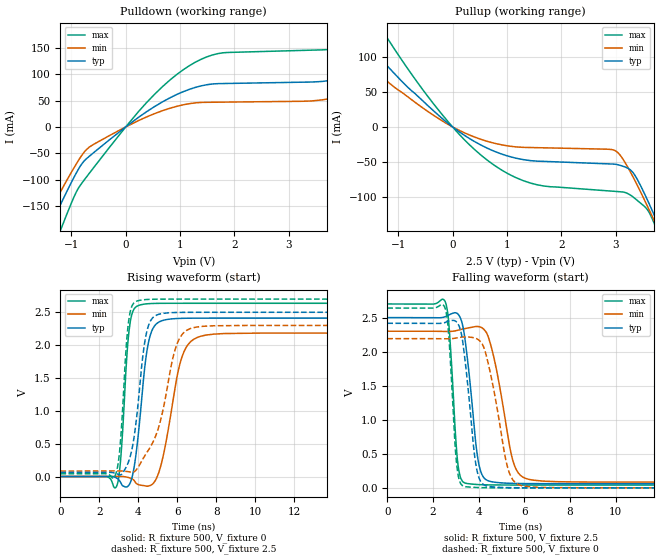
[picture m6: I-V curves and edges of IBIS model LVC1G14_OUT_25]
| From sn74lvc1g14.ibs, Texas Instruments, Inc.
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[Model]   LVC1G14_OUT_25
Model_type  Output
Vref =   0
Rref =   500
Cref =   30p
Vmeas =   1.25
| variable   typ   min   max
C_comp   9.80pF   6.16pF   14.71pF
| C_pullup   9.65pF   6.16pF   11.31pF
| C_pulldown   9.95pF   6.65pF   14.71pF
[Temperature Range]   40   100   -40
| Ambient temperature   25   85   -40
[Voltage range]   2.5   2.3   2.7
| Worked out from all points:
|   slope of the pulldown table from 0 to 0.375 V, typ, clamps not added: 13.3 ohm
|   slope of the pullup table from 0 to 0.375 V, typ, clamps not added: 19 ohm
|   rising waveform, R_fixture 500, V_fixture 0: 20-80 % time 512ps typ, 801ps min, 326ps max; typ from 0 V to 2.41 V
|   falling waveform, R_fixture 500, V_fixture 2.5: 20-80 % time 448ps typ, 702ps min, 285ps max; typ from 2.5 V to 0.061 V
|   rising waveform, R_fixture 500, V_fixture 2.5: 20-80 % time 557ps typ, 1.06ns min, 337ps max; typ from 0.061 V to 2.5 V
|   falling waveform, R_fixture 500, V_fixture 0: 20-80 % time 437ps typ, 703ps min, 273ps max; typ from 2.42 V to 0 V
[Pulldown]
| LVC1G14_OUT_25
|   Voltage   I(typ)   I(min)   I(max)
-5.5V     -1.06A     -941.4mA   -1.275A
-1.52V    -217.1mA   -184.1mA   -281.2mA
-1.26V    -160.6mA   -134.6mA   -212.3mA
-665mV    -55.38mA   -37.96mA   -87.52mA
385mV     28.96mA    19.04mA    46.35mA
1.275V    74.94mA    45.66mA    122.7mA
3.82V     89.63mA    55.12mA    148.2mA
5.34V     157.4mA    105.8mA    232mA
5.91V     188.7mA    52.55mA    283.4mA
6.525V    93.54mA    53.06mA    299.5mA
7.555V    94.08mA    54.03mA    161.4mA
11V       99.63mA    57.49mA    169.6mA
[Pullup]
| LVC1G14_OUT_25
|   Voltage   I(typ)   I(min)   I(max)
-5.5V     533.4mA    418.6mA    746.4mA
-2.335V   192.2mA    147mA      274.9mA
-1.875V   147.9mA    112.2mA    212.9mA
-1.315V   97.38mA    72.9mA     141.5mA
-225mV    14.47mA    10.42mA    20.98mA
735mV     -33.88mA   -22.76mA   -53.28mA
1.56V     -49.18mA   -29.79mA   -83.17mA
2.98V     -53.48mA   -33.7mA    -92.52mA
3.325V    -66.27mA   -72.72mA   -100.9mA
3.755V    -135mA     -142.5mA   -147.1mA
3.835V    -149.5mA   -156.2mA   -162.8mA
11V       -1.609A    -1.492A    -1.841A
[Ramp]
| LVC1G14_OUT_25
| variable   typ   min   max
dV/dt_r   1.54/5.52E-10   1.40/8.59E-10   1.69/3.57E-10
dV/dt_f   1.51/4.70E-10   1.37/7.34E-10   1.64/3.00E-10
R_load = 500
[Rising Waveform]
| LVC1G14_OUT_25
R_fixture =   500
C_fixture =   0
L_fixture =   0
V_fixture =   0
V_fixture_min = 0
V_fixture_max = 0
|   Time   V(typ)   V(min)   V(max)
0s        125.3pV    6.247nV    2.314nV
2.875ns   -22.35mV   1.971mV    -152mV
3.09ns    -91.03mV   1.802mV    265.9mV
3.565ns   -107.2mV   -22.75mV   2.321V
4.225ns   1.363V     -136.1mV   2.62V
4.51ns    2.031V     -145.7mV   2.631V
4.885ns   2.312V     -51.78mV   2.635V
6.24ns    2.408V     1.824V     2.637V
7.465ns   2.411V     2.153V     2.637V
50ns      2.411V     2.183V     2.637V
[Falling Waveform]
| LVC1G14_OUT_25
R_fixture =   500
C_fixture =   0
L_fixture =   0
V_fixture =   2.5
V_fixture_min = 2.3
V_fixture_max = 2.7
|   Time   V(typ)   V(min)   V(max)
0s        2.5V       2.3V       2.7V
2.535ns   2.513V     2.297V     2.735V
2.705ns   2.541V     2.296V     2.362V
3.095ns   2.551V     2.315V     341.2mV
3.51ns    1.89V      2.346V     62.83mV
3.915ns   546.3mV    2.369V     49.68mV
4.175ns   176.2mV    2.344V     45.74mV
5.54ns    65.55mV    356.6mV    41.72mV
6.395ns   62.1mV     112.9mV    41.56mV
50ns      60.93mV    83.64mV    41.46mV
[Rising Waveform]
| LVC1G14_OUT_25
R_fixture =   500
C_fixture =   0
L_fixture =   0
V_fixture =   2.5
V_fixture_min = 2.3
V_fixture_max = 2.7
|   Time   V(typ)   V(min)   V(max)
0s        60.91mV    83.6mV     41.45mV
2.795ns   51.38mV    85.15mV    5.302mV
3.055ns   23mV       85.17mV    449.1mV
3.505ns   235.9mV    72.5mV     2.378V
4.085ns   1.42V      191mV      2.683V
4.37ns    2.121V     336.7mV    2.693V
4.705ns   2.406V     500.4mV    2.698V
5.985ns   2.497V     2.02V      2.7V
7ns       2.5V       2.276V     2.7V
50ns      2.5V       2.3V       2.7V
[Falling Waveform]
| LVC1G14_OUT_25
R_fixture =   500
C_fixture =   0
L_fixture =   0
V_fixture =   0
V_fixture_min = 0
V_fixture_max = 0
|   Time   V(typ)   V(min)   V(max)
0s        2.416V     2.191V     2.64V
2.515ns   2.426V     2.189V     2.652V
2.69ns    2.448V     2.189V     2.24V
3.045ns   2.432V     2.202V     326.2mV
3.415ns   1.843V     2.216V     17.28mV
3.815ns   496.3mV    2.202V     7.237mV
4.04ns    126.8mV    2.161V     4.033mV
5.305ns   3.589mV    259.5mV    282.2uV
6.035ns   1.004mV    22.64mV    117.6uV
50ns      22.38uV    36.92uV    12.37uV
